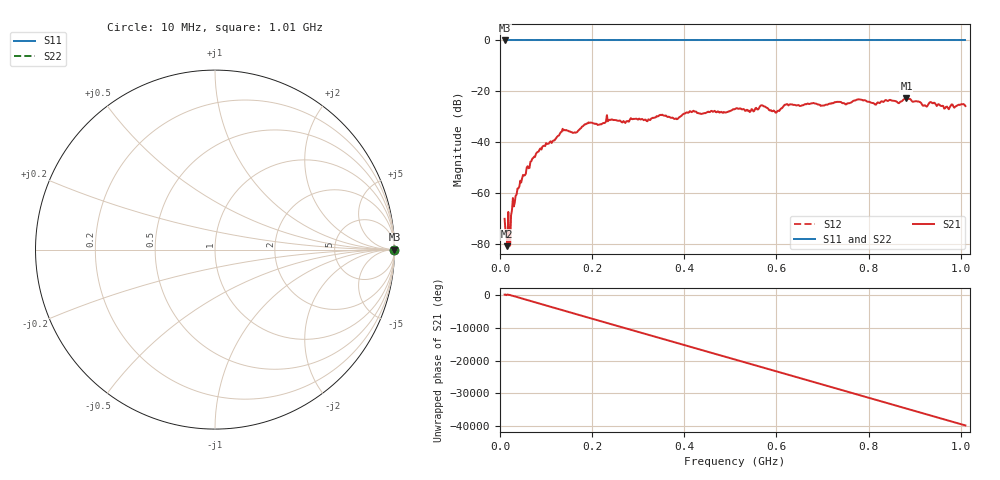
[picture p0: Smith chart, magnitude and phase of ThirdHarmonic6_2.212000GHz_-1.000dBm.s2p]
! 8/17/2025 2:21:22 AM
! C:\ANRITSUVNA\TEMP\TEMP.S2P
! CHANNEL.1
! TR.MEASUREMENT
! RAW.DATA
! RF.CORRECTION.OFF
! AVERAGING.OFF
! IF.BANDWIDTH: 5KHZ
! SWEEPTYPE:  FREQ.SWEEP(Linear)
! Reference Plane Port Info
! PORT:  PORT1  PORT2
! DISTANCE:  0  m  0  m
! TIME:  0  s  0  s
! PHASE.OFFSET:  0  deg.  0  deg.
! LOSS:  0  dB  0  dB
! REF.LOSS:  0  dB  0  dB
! REF.FREQ:  0  Hz  0  Hz
! Power Info
! POWER:  -20  dBm  -20  dBm
! EFF.POWER:  -20  dBm  -20  dBm
! SOURCE.ATTEN:  0  dB  0  dB
! TEST.ATTEN:  0  dB  0  dB
# GHZ S RI R 50.0
! FREQ.GHZ  S11RE  S11IM  S21RE  S21IM  S12RE  S12IM  S22RE  S22IM
!; PortSelection: Port_12
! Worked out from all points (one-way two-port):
!   501 points, 10 MHz to 1.01 GHz, reference 50 ohm
!   highest |S21| = -22.69 dB at 882 MHz (marker M1); lowest = -80.8 dB at 16 MHz (marker M2)
!   lowest |S11| = 0.0 dB at 10 MHz (marker M3)
!   |S11| at or under -10 dB: nowhere
!   |S22| runs from 0.0 to 0.0 dB; largest |S21 - S12| = 1.1
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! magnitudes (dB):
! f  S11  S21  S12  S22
! 10 MHz  0.0  -70.0  0.0  0.0
! 16 MHz  0.0  -80.8  0.0  0.0
! 20 MHz  0.0  -80.0  0.0  0.0
! 28 MHz  0.0  -61.9  0.0  0.0
! 40 MHz  0.0  -58.1  0.0  0.0
! 70 MHz  0.0  -46.4  0.0  0.0
! 136 MHz  0.0  -34.7  0.0  0.0
! 162 MHz  0.0  -36.1  0.0  0.0
! 178 MHz  0.0  -33.8  0.0  0.0
! 236 MHz  0.0  -31.3  0.0  0.0
! 344 MHz  0.0  -29.7  0.0  0.0
! 382 MHz  0.0  -30.6  0.0  0.0
! 416 MHz  0.0  -28.2  0.0  0.0
! 510 MHz  0.0  -27.0  0.0  0.0
! 570 MHz  0.0  -25.5  0.0  0.0
! 600 MHz  0.0  -28.3  0.0  0.0
! 620 MHz  0.0  -25.2  0.0  0.0
! 678 MHz  0.0  -24.7  0.0  0.0
! 844 MHz  0.0  -23.5  0.0  0.0
! 882 MHz  0.0  -22.7  0.0  0.0
! 922 MHz  0.0  -25.4  0.0  0.0
! 1.01 GHz  0.0  -25.7  0.0  0.0
